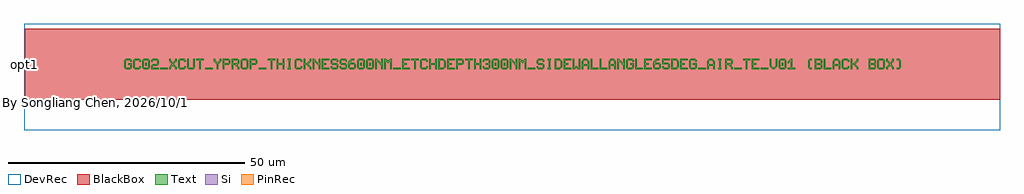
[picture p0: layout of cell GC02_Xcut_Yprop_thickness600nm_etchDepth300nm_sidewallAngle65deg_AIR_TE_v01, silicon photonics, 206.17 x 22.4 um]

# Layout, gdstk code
import gdstk
lib = gdstk.Library(unit=1e-6, precision=1e-10)
def R(c, l, rs):  # rectangles x0, y0, x1, y1
    for r in rs: c.add(gdstk.rectangle(r[:2], r[2:], *l))
def A(c, l, x, y, w, h, nx, ny, dx, dy):  # array of equal rectangles
    R(c, l, [(x+i*dx, y+j*dy, x+i*dx+w, y+j*dy+h) for i in range(nx) for j in range(ny)])
def P(c, l, *ps):  # polygons
    for p in ps: c.add(gdstk.Polygon(p, *l))
Si = (1, 0)
PinRec = (1, 10)
Text = (10, 0)
DevRec = (68, 0)
BlackBox = (998, 0)

text = lib.new_cell('TEXT')
A(text, Text, 28.41, 0, 1.578, 0.316, 3, 1, 28.41, 0)
R(text, Text, [(7.576,0,9.154,0.316), (17.046,0,18.624,0.316), (121.216,0,122.794,0.316), (128.792,0,130.37,0.316), (134.474,0,136.052,0.316), (4.419,0.789,4.735,1.42), (49.875,0.789,50.191,1.42), (51.769,0.789,52.085,1.42), (78.285,0.789,78.601,1.42), (80.179,0.789,80.495,1.42), (138.893,0.789,139.209,1.42)])
P(text, Text, [(0.316,0),(0,0.316),(0,1.894),(0.316,2.21),(1.263,2.21),(1.578,1.894),(1.578,1.578),(1.263,1.578),(1.263,1.736),(1.105,1.894),(0.473,1.894),(0.316,1.736),(0.316,0.473),(0.473,0.316),(1.105,0.316),(1.263,0.473),(1.263,0.947),(0.789,0.947),(0.789,1.263),(1.578,1.263),(1.578,0.316),(1.263,0)],
  [(2.21,0),(1.894,0.316),(1.894,1.894),(2.21,2.21),(3.157,2.21),(3.472,1.894),(3.472,1.578),(3.157,1.578),(3.157,1.736),(2.999,1.894),(2.367,1.894),(2.21,1.736),(2.21,0.473),(2.367,0.316),(2.999,0.316),(3.157,0.473),(3.157,0.631),(3.472,0.631),(3.472,0.316),(3.157,0)],
  [(4.104,0),(3.788,0.316),(3.788,1.894),(4.104,2.21),(5.051,2.21),(5.366,1.894),(4.261,1.894),(4.104,1.736),(4.104,0.473),(4.261,0.316),(4.893,0.316),(5.051,0.473),(5.051,1.736),(4.893,1.894),(5.366,1.894),(5.366,0.316),(5.051,0)],
  [(5.682,0),(5.682,0.789),(5.998,1.105),(6.787,1.105),(6.945,1.263),(6.945,1.736),(6.787,1.894),(6.155,1.894),(5.998,1.736),(5.998,1.578),(5.682,1.578),(5.682,1.894),(5.998,2.21),(6.945,2.21),(7.26,1.894),(7.26,1.105),(6.945,0.789),(6.155,0.789),(5.998,0.631),(5.998,0.316),(7.26,0.316),(7.26,0)],
  [(9.47,0),(9.47,0.473),(9.943,0.947),(9.943,1.263),(9.47,1.736),(9.47,2.21),(9.786,2.21),(9.786,1.894),(10.259,1.42),(10.733,1.894),(10.733,2.21),(11.048,2.21),(11.048,1.736),(10.575,1.263),(10.575,0.947),(11.048,0.473),(11.048,0),(10.733,0),(10.733,0.316),(10.259,0.789),(9.786,0.316),(9.786,0)],
  [(11.68,0),(11.364,0.316),(11.364,1.894),(11.68,2.21),(12.627,2.21),(12.942,1.894),(12.942,1.578),(12.627,1.578),(12.627,1.736),(12.469,1.894),(11.837,1.894),(11.68,1.736),(11.68,0.473),(11.837,0.316),(12.469,0.316),(12.627,0.473),(12.627,0.631),(12.942,0.631),(12.942,0.316),(12.627,0)],
  [(13.574,0),(13.258,0.316),(13.258,2.21),(13.574,2.21),(13.574,0.473),(13.731,0.316),(14.363,0.316),(14.521,0.473),(14.521,2.21),(14.836,2.21),(14.836,0.316),(14.521,0)],
  [(15.783,0),(15.783,1.894),(15.152,1.894),(15.152,2.21),(16.73,2.21),(16.73,1.894),(16.099,1.894),(16.099,0)],
  [(19.571,0),(19.571,1.105),(18.94,1.736),(18.94,2.21),(19.256,2.21),(19.256,1.894),(19.729,1.42),(20.203,1.894),(20.203,2.21),(20.518,2.21),(20.518,1.736),(19.887,1.105),(19.887,0)],
  [(20.834,0),(20.834,2.21),(22.097,2.21),(22.412,1.894),(22.412,1.263),(22.097,0.947),(21.15,0.947),(21.15,1.263),(21.939,1.263),(22.097,1.42),(22.097,1.736),(21.939,1.894),(21.15,1.894),(21.15,0)],
  [(22.728,0),(22.728,2.21),(23.991,2.21),(24.306,1.894),(23.044,1.894),(23.044,1.263),(23.833,1.263),(23.991,1.42),(23.991,1.736),(23.833,1.894),(24.306,1.894),(24.306,1.263),(23.991,0.947),(23.991,0.789),(24.306,0.473),(24.306,0),(23.991,0),(23.991,0.316),(23.359,0.947),(23.044,0.947),(23.044,0)],
  [(24.938,0),(24.622,0.316),(24.622,1.894),(24.938,2.21),(25.885,2.21),(26.2,1.894),(26.2,1.105),(25.885,1.105),(25.885,1.736),(25.727,1.894),(25.095,1.894),(24.938,1.736),(24.938,0.473),(25.095,0.316),(25.727,0.316),(25.885,0.473),(25.885,1.105),(26.2,1.105),(26.2,0.316),(25.885,0)],
  [(26.516,0),(26.516,2.21),(27.779,2.21),(28.094,1.894),(28.094,1.263),(27.779,0.947),(26.832,0.947),(26.832,1.263),(27.621,1.263),(27.779,1.42),(27.779,1.736),(27.621,1.894),(26.832,1.894),(26.832,0)],
  [(30.935,0),(30.935,1.894),(30.304,1.894),(30.304,2.21),(31.882,2.21),(31.882,1.894),(31.251,1.894),(31.251,0)],
  [(32.198,0),(32.198,2.21),(32.514,2.21),(32.514,1.263),(33.461,1.263),(33.461,2.21),(33.776,2.21),(33.776,0),(33.461,0),(33.461,0.947),(32.514,0.947),(32.514,0)],
  [(34.565,0),(34.565,0.316),(34.723,0.316),(34.723,1.894),(34.565,1.894),(34.565,2.21),(35.197,2.21),(35.197,1.894),(35.039,1.894),(35.039,0.316),(35.197,0.316),(35.197,0)],
  [(36.302,0),(35.986,0.316),(35.986,1.894),(36.302,2.21),(37.249,2.21),(37.564,1.894),(37.564,1.578),(37.249,1.578),(37.249,1.736),(37.091,1.894),(36.459,1.894),(36.302,1.736),(36.302,0.473),(36.459,0.316),(37.091,0.316),(37.249,0.473),(37.249,0.631),(37.564,0.631),(37.564,0.316),(37.249,0)],
  [(37.88,0),(37.88,2.21),(38.196,2.21),(38.196,1.263),(38.511,1.263),(39.143,1.894),(39.143,2.21),(39.458,2.21),(39.458,1.736),(38.827,1.105),(39.458,0.473),(39.458,0),(39.143,0),(39.143,0.316),(38.511,0.947),(38.196,0.947),(38.196,0)],
  [(39.774,0),(39.774,2.21),(40.09,2.21),(40.879,1.42),(41.037,1.42),(41.037,2.21),(41.352,2.21),(41.352,0),(41.037,0),(41.037,0.789),(40.247,1.578),(40.09,1.578),(40.09,0)],
  [(41.668,0),(41.668,2.21),(43.246,2.21),(43.246,1.894),(41.984,1.894),(41.984,1.263),(42.615,1.263),(42.615,0.947),(41.984,0.947),(41.984,0.316),(43.246,0.316),(43.246,0)],
  [(43.878,0),(43.562,0.316),(43.562,0.631),(43.878,0.631),(43.878,0.473),(44.035,0.316),(44.667,0.316),(44.825,0.473),(44.825,0.789),(44.667,0.947),(43.878,0.947),(43.562,1.263),(43.562,1.894),(43.878,2.21),(44.825,2.21),(45.14,1.894),(45.14,1.578),(44.825,1.578),(44.825,1.736),(44.667,1.894),(44.035,1.894),(43.878,1.736),(43.878,1.42),(44.035,1.263),(44.825,1.263),(45.14,0.947),(45.14,0.316),(44.825,0)],
  [(45.772,0),(45.456,0.316),(45.456,0.631),(45.772,0.631),(45.772,0.473),(45.929,0.316),(46.561,0.316),(46.719,0.473),(46.719,0.789),(46.561,0.947),(45.772,0.947),(45.456,1.263),(45.456,1.894),(45.772,2.21),(46.719,2.21),(47.034,1.894),(47.034,1.578),(46.719,1.578),(46.719,1.736),(46.561,1.894),(45.929,1.894),(45.772,1.736),(45.772,1.42),(45.929,1.263),(46.719,1.263),(47.034,0.947),(47.034,0.316),(46.719,0)],
  [(47.666,0),(47.35,0.316),(47.35,1.578),(47.981,2.21),(48.613,2.21),(48.613,1.894),(48.139,1.894),(47.823,1.578),(47.823,1.42),(48.613,1.42),(48.928,1.105),(47.823,1.105),(47.666,0.947),(47.666,0.473),(47.823,0.316),(48.455,0.316),(48.613,0.473),(48.613,0.947),(48.455,1.105),(48.928,1.105),(48.928,0.316),(48.613,0)],
  [(49.56,0),(49.244,0.316),(49.244,1.894),(49.56,2.21),(50.507,2.21),(50.822,1.894),(49.717,1.894),(49.56,1.736),(49.56,0.473),(49.717,0.316),(50.349,0.316),(50.507,0.473),(50.507,1.736),(50.349,1.894),(50.822,1.894),(50.822,0.316),(50.507,0)],
  [(51.454,0),(51.138,0.316),(51.138,1.894),(51.454,2.21),(52.401,2.21),(52.716,1.894),(51.611,1.894),(51.454,1.736),(51.454,0.473),(51.611,0.316),(52.243,0.316),(52.401,0.473),(52.401,1.736),(52.243,1.894),(52.716,1.894),(52.716,0.316),(52.401,0)],
  [(53.032,0),(53.032,2.21),(53.348,2.21),(54.137,1.42),(54.295,1.42),(54.295,2.21),(54.61,2.21),(54.61,0),(54.295,0),(54.295,0.789),(53.505,1.578),(53.348,1.578),(53.348,0)],
  [(54.926,0),(54.926,2.21),(55.242,2.21),(55.557,1.894),(55.873,1.894),(56.189,2.21),(56.504,2.21),(56.504,0),(56.189,0),(56.189,1.578),(56.031,1.578),(55.715,1.263),(55.399,1.578),(55.242,1.578),(55.242,0)],
  [(58.714,0),(58.714,2.21),(60.292,2.21),(60.292,1.894),(59.03,1.894),(59.03,1.263),(59.661,1.263),(59.661,0.947),(59.03,0.947),(59.03,0.316),(60.292,0.316),(60.292,0)],
  [(61.239,0),(61.239,1.894),(60.608,1.894),(60.608,2.21),(62.186,2.21),(62.186,1.894),(61.555,1.894),(61.555,0)],
  [(62.818,0),(62.502,0.316),(62.502,1.894),(62.818,2.21),(63.765,2.21),(64.08,1.894),(64.08,1.578),(63.765,1.578),(63.765,1.736),(63.607,1.894),(62.975,1.894),(62.818,1.736),(62.818,0.473),(62.975,0.316),(63.607,0.316),(63.765,0.473),(63.765,0.631),(64.08,0.631),(64.08,0.316),(63.765,0)],
  [(64.396,0),(64.396,2.21),(64.712,2.21),(64.712,1.263),(65.659,1.263),(65.659,2.21),(65.974,2.21),(65.974,0),(65.659,0),(65.659,0.947),(64.712,0.947),(64.712,0)],
  [(66.29,0),(66.29,2.21),(67.395,2.21),(67.71,1.894),(66.606,1.894),(66.606,0.316),(67.237,0.316),(67.553,0.631),(67.553,1.578),(67.237,1.894),(67.71,1.894),(67.868,1.736),(67.868,0.473),(67.395,0)],
  [(68.184,0),(68.184,2.21),(69.762,2.21),(69.762,1.894),(68.5,1.894),(68.5,1.263),(69.131,1.263),(69.131,0.947),(68.5,0.947),(68.5,0.316),(69.762,0.316),(69.762,0)],
  [(70.078,0),(70.078,2.21),(71.341,2.21),(71.656,1.894),(71.656,1.263),(71.341,0.947),(70.394,0.947),(70.394,1.263),(71.183,1.263),(71.341,1.42),(71.341,1.736),(71.183,1.894),(70.394,1.894),(70.394,0)],
  [(72.603,0),(72.603,1.894),(71.972,1.894),(71.972,2.21),(73.55,2.21),(73.55,1.894),(72.919,1.894),(72.919,0)],
  [(73.866,0),(73.866,2.21),(74.182,2.21),(74.182,1.263),(75.129,1.263),(75.129,2.21),(75.444,2.21),(75.444,0),(75.129,0),(75.129,0.947),(74.182,0.947),(74.182,0)],
  [(76.076,0),(75.76,0.316),(75.76,0.631),(76.076,0.631),(76.076,0.473),(76.233,0.316),(76.865,0.316),(77.023,0.473),(77.023,0.789),(76.865,0.947),(76.391,0.947),(76.391,1.263),(76.865,1.263),(77.023,1.42),(77.023,1.736),(76.865,1.894),(76.233,1.894),(76.076,1.736),(76.076,1.578),(75.76,1.578),(75.76,1.894),(76.076,2.21),(77.023,2.21),(77.338,1.894),(77.338,1.263),(77.18,1.105),(77.338,0.947),(77.338,0.316),(77.023,0)],
  [(77.97,0),(77.654,0.316),(77.654,1.894),(77.97,2.21),(78.917,2.21),(79.232,1.894),(78.127,1.894),(77.97,1.736),(77.97,0.473),(78.127,0.316),(78.759,0.316),(78.917,0.473),(78.917,1.736),(78.759,1.894),(79.232,1.894),(79.232,0.316),(78.917,0)],
  [(79.864,0),(79.548,0.316),(79.548,1.894),(79.864,2.21),(80.811,2.21),(81.126,1.894),(80.021,1.894),(79.864,1.736),(79.864,0.473),(80.021,0.316),(80.653,0.316),(80.811,0.473),(80.811,1.736),(80.653,1.894),(81.126,1.894),(81.126,0.316),(80.811,0)],
  [(81.442,0),(81.442,2.21),(81.758,2.21),(82.547,1.42),(82.705,1.42),(82.705,2.21),(83.02,2.21),(83.02,0),(82.705,0),(82.705,0.789),(81.915,1.578),(81.758,1.578),(81.758,0)],
  [(83.336,0),(83.336,2.21),(83.652,2.21),(83.967,1.894),(84.283,1.894),(84.599,2.21),(84.914,2.21),(84.914,0),(84.599,0),(84.599,1.578),(84.441,1.578),(84.125,1.263),(83.809,1.578),(83.652,1.578),(83.652,0)],
  [(87.44,0),(87.124,0.316),(87.124,0.631),(87.44,0.631),(87.44,0.473),(87.597,0.316),(88.229,0.316),(88.387,0.473),(88.387,0.789),(88.229,0.947),(87.44,0.947),(87.124,1.263),(87.124,1.894),(87.44,2.21),(88.387,2.21),(88.702,1.894),(88.702,1.578),(88.387,1.578),(88.387,1.736),(88.229,1.894),(87.597,1.894),(87.44,1.736),(87.44,1.42),(87.597,1.263),(88.387,1.263),(88.702,0.947),(88.702,0.316),(88.387,0)],
  [(89.491,0),(89.491,0.316),(89.649,0.316),(89.649,1.894),(89.491,1.894),(89.491,2.21),(90.123,2.21),(90.123,1.894),(89.965,1.894),(89.965,0.316),(90.123,0.316),(90.123,0)],
  [(90.912,0),(90.912,2.21),(92.017,2.21),(92.332,1.894),(91.228,1.894),(91.228,0.316),(91.859,0.316),(92.175,0.631),(92.175,1.578),(91.859,1.894),(92.332,1.894),(92.49,1.736),(92.49,0.473),(92.017,0)],
  [(92.806,0),(92.806,2.21),(94.384,2.21),(94.384,1.894),(93.122,1.894),(93.122,1.263),(93.753,1.263),(93.753,0.947),(93.122,0.947),(93.122,0.316),(94.384,0.316),(94.384,0)],
  [(94.7,0),(94.7,2.21),(95.016,2.21),(95.016,0.473),(95.173,0.473),(95.489,0.789),(95.805,0.473),(95.963,0.473),(95.963,2.21),(96.278,2.21),(96.278,0),(95.805,0),(95.489,0.316),(95.173,0)],
  [(96.594,0),(96.594,1.736),(97.067,2.21),(97.699,2.21),(98.014,1.894),(97.225,1.894),(96.91,1.578),(96.91,1.105),(97.857,1.105),(97.857,1.578),(97.541,1.894),(98.014,1.894),(98.172,1.736),(98.172,0),(97.857,0),(97.857,0.789),(96.91,0.789),(96.91,0)],
  [(98.488,0),(98.488,2.21),(98.804,2.21),(98.804,0.316),(100.066,0.316),(100.066,0)],
  [(100.382,0),(100.382,2.21),(100.698,2.21),(100.698,0.316),(101.96,0.316),(101.96,0)],
  [(102.276,0),(102.276,1.736),(102.749,2.21),(103.381,2.21),(103.696,1.894),(102.907,1.894),(102.592,1.578),(102.592,1.105),(103.539,1.105),(103.539,1.578),(103.223,1.894),(103.696,1.894),(103.854,1.736),(103.854,0),(103.539,0),(103.539,0.789),(102.592,0.789),(102.592,0)],
  [(104.17,0),(104.17,2.21),(104.486,2.21),(105.275,1.42),(105.433,1.42),(105.433,2.21),(105.748,2.21),(105.748,0),(105.433,0),(105.433,0.789),(104.643,1.578),(104.486,1.578),(104.486,0)],
  [(106.38,0),(106.064,0.316),(106.064,1.894),(106.38,2.21),(107.327,2.21),(107.642,1.894),(107.642,1.578),(107.327,1.578),(107.327,1.736),(107.169,1.894),(106.537,1.894),(106.38,1.736),(106.38,0.473),(106.537,0.316),(107.169,0.316),(107.327,0.473),(107.327,0.947),(106.853,0.947),(106.853,1.263),(107.642,1.263),(107.642,0.316),(107.327,0)],
  [(107.958,0),(107.958,2.21),(108.274,2.21),(108.274,0.316),(109.536,0.316),(109.536,0)],
  [(109.852,0),(109.852,2.21),(111.43,2.21),(111.43,1.894),(110.168,1.894),(110.168,1.263),(110.799,1.263),(110.799,0.947),(110.168,0.947),(110.168,0.316),(111.43,0.316),(111.43,0)],
  [(112.062,0),(111.746,0.316),(111.746,1.578),(112.377,2.21),(113.009,2.21),(113.009,1.894),(112.535,1.894),(112.219,1.578),(112.219,1.42),(113.009,1.42),(113.324,1.105),(112.219,1.105),(112.062,0.947),(112.062,0.473),(112.219,0.316),(112.851,0.316),(113.009,0.473),(113.009,0.947),(112.851,1.105),(113.324,1.105),(113.324,0.316),(113.009,0)],
  [(113.956,0),(113.64,0.316),(113.64,0.631),(113.956,0.631),(113.956,0.473),(114.113,0.316),(114.745,0.316),(114.903,0.473),(114.903,0.947),(114.745,1.105),(113.64,1.105),(113.64,2.21),(115.218,2.21),(115.218,1.894),(113.956,1.894),(113.956,1.42),(114.903,1.42),(115.218,1.105),(115.218,0.316),(114.903,0)],
  [(115.534,0),(115.534,2.21),(116.639,2.21),(116.954,1.894),(115.85,1.894),(115.85,0.316),(116.481,0.316),(116.797,0.631),(116.797,1.578),(116.481,1.894),(116.954,1.894),(117.112,1.736),(117.112,0.473),(116.639,0)],
  [(117.428,0),(117.428,2.21),(119.006,2.21),(119.006,1.894),(117.744,1.894),(117.744,1.263),(118.375,1.263),(118.375,0.947),(117.744,0.947),(117.744,0.316),(119.006,0.316),(119.006,0)],
  [(119.638,0),(119.322,0.316),(119.322,1.894),(119.638,2.21),(120.585,2.21),(120.9,1.894),(120.9,1.578),(120.585,1.578),(120.585,1.736),(120.427,1.894),(119.795,1.894),(119.638,1.736),(119.638,0.473),(119.795,0.316),(120.427,0.316),(120.585,0.473),(120.585,0.947),(120.111,0.947),(120.111,1.263),(120.9,1.263),(120.9,0.316),(120.585,0)],
  [(123.11,0),(123.11,1.736),(123.583,2.21),(124.215,2.21),(124.53,1.894),(123.741,1.894),(123.426,1.578),(123.426,1.105),(124.373,1.105),(124.373,1.578),(124.057,1.894),(124.53,1.894),(124.688,1.736),(124.688,0),(124.373,0),(124.373,0.789),(123.426,0.789),(123.426,0)],
  [(125.477,0),(125.477,0.316),(125.635,0.316),(125.635,1.894),(125.477,1.894),(125.477,2.21),(126.109,2.21),(126.109,1.894),(125.951,1.894),(125.951,0.316),(126.109,0.316),(126.109,0)],
  [(126.898,0),(126.898,2.21),(128.161,2.21),(128.476,1.894),(127.214,1.894),(127.214,1.263),(128.003,1.263),(128.161,1.42),(128.161,1.736),(128.003,1.894),(128.476,1.894),(128.476,1.263),(128.161,0.947),(128.161,0.789),(128.476,0.473),(128.476,0),(128.161,0),(128.161,0.316),(127.529,0.947),(127.214,0.947),(127.214,0)],
  [(131.317,0),(131.317,1.894),(130.686,1.894),(130.686,2.21),(132.264,2.21),(132.264,1.894),(131.633,1.894),(131.633,0)],
  [(132.58,0),(132.58,2.21),(134.158,2.21),(134.158,1.894),(132.896,1.894),(132.896,1.263),(133.527,1.263),(133.527,0.947),(132.896,0.947),(132.896,0.316),(134.158,0.316),(134.158,0)],
  [(136.999,0),(136.368,0.631),(136.368,2.21),(136.684,2.21),(136.684,0.789),(137.157,0.316),(137.631,0.789),(137.631,2.21),(137.946,2.21),(137.946,0.631),(137.315,0)],
  [(138.578,0),(138.262,0.316),(138.262,1.894),(138.578,2.21),(139.525,2.21),(139.84,1.894),(138.735,1.894),(138.578,1.736),(138.578,0.473),(138.735,0.316),(139.367,0.316),(139.525,0.473),(139.525,1.736),(139.367,1.894),(139.84,1.894),(139.84,0.316),(139.525,0)],
  [(140.156,0),(140.156,0.316),(140.787,0.316),(140.787,1.578),(140.629,1.578),(140.314,1.263),(140.156,1.263),(140.156,1.578),(140.787,2.21),(141.103,2.21),(141.103,0.316),(141.734,0.316),(141.734,0)],
  [(144.733,0),(144.417,0.316),(144.417,1.894),(144.733,2.21),(145.207,2.21),(145.207,1.894),(144.891,1.894),(144.733,1.736),(144.733,0.473),(144.891,0.316),(145.207,0.316),(145.207,0)],
  [(145.838,0),(145.838,2.21),(147.101,2.21),(147.416,1.894),(146.154,1.894),(146.154,1.263),(146.943,1.263),(147.101,1.42),(147.101,1.736),(146.943,1.894),(147.416,1.894),(147.416,1.263),(147.258,1.105),(147.416,0.947),(146.154,0.947),(146.154,0.316),(146.943,0.316),(147.101,0.473),(147.101,0.789),(146.943,0.947),(147.416,0.947),(147.416,0.316),(147.101,0)],
  [(147.732,0),(147.732,2.21),(148.048,2.21),(148.048,0.316),(149.31,0.316),(149.31,0)],
  [(149.626,0),(149.626,1.736),(150.099,2.21),(150.731,2.21),(151.046,1.894),(150.257,1.894),(149.942,1.578),(149.942,1.105),(150.889,1.105),(150.889,1.578),(150.573,1.894),(151.046,1.894),(151.204,1.736),(151.204,0),(150.889,0),(150.889,0.789),(149.942,0.789),(149.942,0)],
  [(151.836,0),(151.52,0.316),(151.52,1.894),(151.836,2.21),(152.783,2.21),(153.098,1.894),(153.098,1.578),(152.783,1.578),(152.783,1.736),(152.625,1.894),(151.993,1.894),(151.836,1.736),(151.836,0.473),(151.993,0.316),(152.625,0.316),(152.783,0.473),(152.783,0.631),(153.098,0.631),(153.098,0.316),(152.783,0)],
  [(153.414,0),(153.414,2.21),(153.73,2.21),(153.73,1.263),(154.045,1.263),(154.677,1.894),(154.677,2.21),(154.992,2.21),(154.992,1.736),(154.361,1.105),(154.992,0.473),(154.992,0),(154.677,0),(154.677,0.316),(154.045,0.947),(153.73,0.947),(153.73,0)],
  [(157.202,0),(157.202,2.21),(158.465,2.21),(158.78,1.894),(157.518,1.894),(157.518,1.263),(158.307,1.263),(158.465,1.42),(158.465,1.736),(158.307,1.894),(158.78,1.894),(158.78,1.263),(158.622,1.105),(158.78,0.947),(157.518,0.947),(157.518,0.316),(158.307,0.316),(158.465,0.473),(158.465,0.789),(158.307,0.947),(158.78,0.947),(158.78,0.316),(158.465,0)],
  [(159.412,0),(159.096,0.316),(159.096,1.894),(159.412,2.21),(160.359,2.21),(160.674,1.894),(160.674,1.105),(160.359,1.105),(160.359,1.736),(160.201,1.894),(159.569,1.894),(159.412,1.736),(159.412,0.473),(159.569,0.316),(160.201,0.316),(160.359,0.473),(160.359,1.105),(160.674,1.105),(160.674,0.316),(160.359,0)],
  [(160.99,0),(160.99,0.473),(161.463,0.947),(161.463,1.263),(160.99,1.736),(160.99,2.21),(161.306,2.21),(161.306,1.894),(161.779,1.42),(162.253,1.894),(162.253,2.21),(162.568,2.21),(162.568,1.736),(162.095,1.263),(162.095,0.947),(162.568,0.473),(162.568,0),(162.253,0),(162.253,0.316),(161.779,0.789),(161.306,0.316),(161.306,0)],
  [(163.2,0),(163.2,0.316),(163.515,0.316),(163.673,0.473),(163.673,1.736),(163.515,1.894),(163.2,1.894),(163.2,2.21),(163.673,2.21),(163.989,1.894),(163.989,0.316),(163.673,0)])

gc02_xcut_yprop_thicknes = lib.new_cell('GC02_Xcut_Yprop_thickness600nm_etchDepth300nm_sidewallAngle65deg_AIR_TE_v01')
R(gc02_xcut_yprop_thicknes, Si, [(-103.079,-0.7,-102.879,0.7)])
R(gc02_xcut_yprop_thicknes, DevRec, [(-103.079,-13.9,103.079,8.5)])
R(gc02_xcut_yprop_thicknes, BlackBox, [(-102.879,-7.5,103.079,7.5)])
gc02_xcut_yprop_thicknes.add(gdstk.FlexPath([(-103.069,0),(-103.089,0)], 1.4, ends="flush", simple_path=True, layer=1, datatype=10))  # PinRec
gc02_xcut_yprop_thicknes.add(gdstk.Reference(text, (-81.8945,-1.105)))
gc02_xcut_yprop_thicknes.add(gdstk.Label('opt1', (-103.079,0), layer=1, texttype=10))
gc02_xcut_yprop_thicknes.add(gdstk.Label('By Songliang Chen, 2026/10/13', (-102.579,-8), layer=10, texttype=0))

lib.write_gds('GC02_Xcut_Yprop_thickness600nm_etchDepth300nm_sidewallAngle65deg_AIR_TE_v01.gds')
